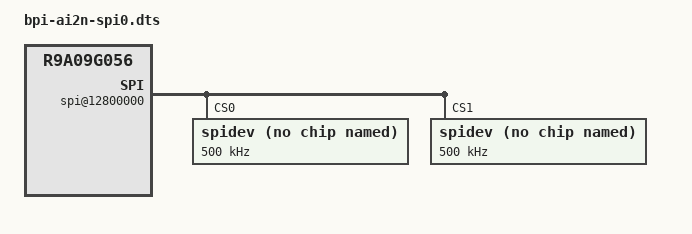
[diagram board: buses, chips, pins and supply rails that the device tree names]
/dts-v1/;
/plugin/;

/ {
	compatible = "renesas,r9a09g056";

	fragment@0 {
		target-path = "/aliases";
		__overlay__ {
			spi1 = "/soc/spi@12800000";
		};
	};

	fragment@1 {
		target-path = "/soc/spi@12800000";
		__overlay__ {
			status = "okay";

			spidev@0 {
				reg = <0>;
				compatible = "rohm,dh2228fv";
				spi-max-frequency = <500000>;
				spi-rx-bus-width = <0x1>;
				spi-tx-bus-width = <0x1>;
			};

			spidev@1 {
                                reg = <1>;
                                compatible = "rohm,dh2228fv";
                                spi-max-frequency = <500000>;
                                spi-rx-bus-width = <0x1>;
                                spi-tx-bus-width = <0x1>;
                        };
		};	
	};
};
